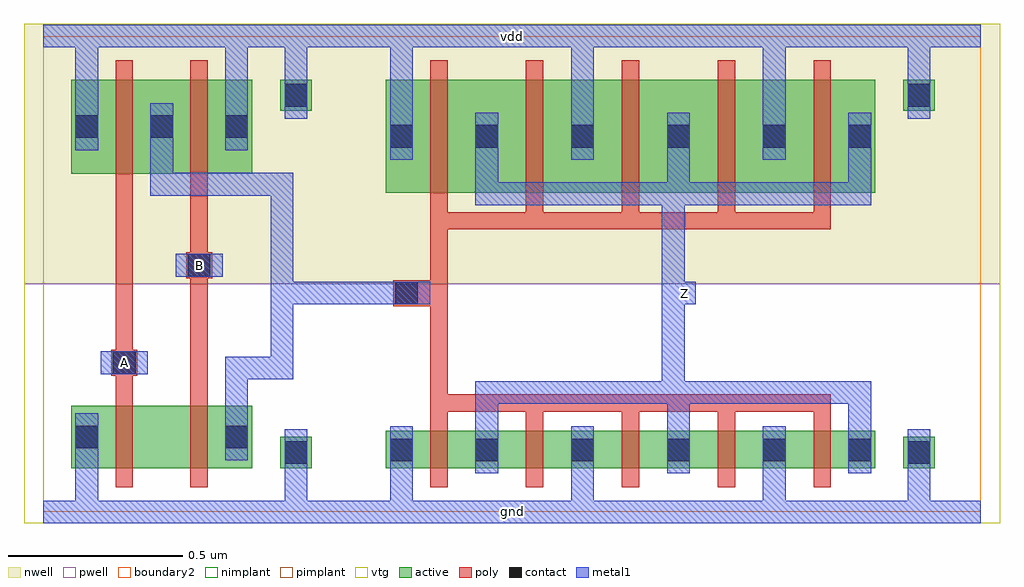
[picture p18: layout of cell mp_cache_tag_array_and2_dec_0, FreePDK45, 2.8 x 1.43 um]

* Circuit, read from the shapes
.subckt mp_cache_tag_array_and2_dec_0 A B Z gnd vdd
M1 mp_cache_tag_array_pnand2_0/mp_cache_tag_array_nmos_m1_w0_180_sm1_dactive_2/D A gnd gnd nfet w=0.18u l=0.05u
M2 mp_cache_tag_array_pinv_0_1/A B mp_cache_tag_array_pnand2_0/mp_cache_tag_array_nmos_m1_w0_180_sm1_dactive_2/D gnd nfet w=0.18u l=0.05u
M3 Z mp_cache_tag_array_pinv_0_1/A gnd gnd nfet w=0.1075u l=0.05u m=5
M4 mp_cache_tag_array_pinv_0_1/A A vdd vdd pfet w=0.27u l=0.05u
M5 vdd B mp_cache_tag_array_pinv_0_1/A vdd pfet w=0.27u l=0.05u
M6 Z mp_cache_tag_array_pinv_0_1/A vdd vdd pfet w=0.325u l=0.05u m=5
.ends

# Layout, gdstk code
import gdstk
lib = gdstk.Library(unit=1e-6, precision=5e-10)
def R(c, l, rs):  # rectangles x0, y0, x1, y1
    for r in rs: c.add(gdstk.rectangle(r[:2], r[2:], *l))
def A(c, l, x, y, w, h, nx, ny, dx, dy):  # array of equal rectangles
    R(c, l, [(x+i*dx, y+j*dy, x+i*dx+w, y+j*dy+h) for i in range(nx) for j in range(ny)])
active = (1, 0)
pwell = (2, 0)
nwell = (3, 0)
nimplant = (4, 0)
pimplant = (5, 0)
vtg = (6, 0)
poly = (9, 0)
contact = (10, 0)
metal1 = (11, 0)
boundary2 = (239, 0)

mp_cache_tag_array_conta = lib.new_cell('mp_cache_tag_array_contact_11')
R(mp_cache_tag_array_conta, active, [(0,0.0225,0.09,0.1125)])
R(mp_cache_tag_array_conta, nwell, [(-0.055,-0.0325,0.145,0.1675)])
R(mp_cache_tag_array_conta, pimplant, [(0,0.0225,0.09,0.1125)])
R(mp_cache_tag_array_conta, contact, [(0.0125,0.035,0.0775,0.1)])
R(mp_cache_tag_array_conta, metal1, [(0.0125,0,0.0775,0.135)])
R(mp_cache_tag_array_conta, boundary2, [(-0.055,-0.0325,0.145,0.1675)])

mp_cache_tag_array_pmos_ = lib.new_cell('mp_cache_tag_array_pmos_m1_w0_270_sm1_dm1')
R(mp_cache_tag_array_pmos_, active, [(0,0,0.305,0.27)])
R(mp_cache_tag_array_pmos_, nwell, [(-0.08,-0.08,0.385,0.35)])
R(mp_cache_tag_array_pmos_, pimplant, [(0,0,0.305,0.27)])
R(mp_cache_tag_array_pmos_, vtg, [(-0.08,-0.08,0.385,0.35)])
R(mp_cache_tag_array_pmos_, poly, [(0.1275,-0.055,0.1775,0.325), (0.1275,-0.055,0.1775,0.325)])
R(mp_cache_tag_array_pmos_, metal1, [(0.0125,0.0675,0.0775,0.2025), (0.2275,0.0675,0.2925,0.2025)])
R(mp_cache_tag_array_pmos_, boundary2, [(-0.08,-0.08,0.385,0.35)])
mp_cache_tag_array_pmos_.add(gdstk.Reference(mp_cache_tag_array_conta, (0,0.0675)))
mp_cache_tag_array_pmos_.add(gdstk.Reference(mp_cache_tag_array_conta, (0.215,0.0675)))
mp_cache_tag_array_pmos_.add(gdstk.Label('G', (0.1525,0.135), layer=9, texttype=0))
mp_cache_tag_array_pmos_.add(gdstk.Label('S', (0.045,0.135), layer=11, texttype=0))
mp_cache_tag_array_pmos_.add(gdstk.Label('D', (0.26,0.135), layer=11, texttype=0))

c_mp_cache_tag_array_conta = lib.new_cell('mp_cache_tag_array_contact_10')
R(c_mp_cache_tag_array_conta, active, [(0,0.0225,0.09,0.1125)])
R(c_mp_cache_tag_array_conta, pwell, [(-0.055,-0.0325,0.145,0.1675)])
R(c_mp_cache_tag_array_conta, nimplant, [(0,0.0225,0.09,0.1125)])
R(c_mp_cache_tag_array_conta, contact, [(0.0125,0.035,0.0775,0.1)])
R(c_mp_cache_tag_array_conta, metal1, [(0.0125,0,0.0775,0.135)])
R(c_mp_cache_tag_array_conta, boundary2, [(-0.055,-0.0325,0.145,0.1675)])

mp_cache_tag_array_nmos_ = lib.new_cell('mp_cache_tag_array_nmos_m1_w0_180_sm1_dactive')
R(mp_cache_tag_array_nmos_, active, [(0,0,0.305,0.18), (0.215,0.045,0.305,0.135)])
R(mp_cache_tag_array_nmos_, pwell, [(-0.08,-0.08,0.385,0.26)])
R(mp_cache_tag_array_nmos_, nimplant, [(0,0,0.305,0.18)])
R(mp_cache_tag_array_nmos_, vtg, [(-0.08,-0.08,0.385,0.26)])
R(mp_cache_tag_array_nmos_, poly, [(0.1275,-0.055,0.1775,0.235), (0.1275,-0.055,0.1775,0.235)])
R(mp_cache_tag_array_nmos_, metal1, [(0.0125,0.0225,0.0775,0.1575)])
R(mp_cache_tag_array_nmos_, boundary2, [(-0.08,-0.08,0.385,0.26)])
mp_cache_tag_array_nmos_.add(gdstk.Reference(c_mp_cache_tag_array_conta, (0,0.0225)))
mp_cache_tag_array_nmos_.add(gdstk.Label('G', (0.1525,0.09), layer=9, texttype=0))
mp_cache_tag_array_nmos_.add(gdstk.Label('S', (0.045,0.09), layer=11, texttype=0))
mp_cache_tag_array_nmos_.add(gdstk.Label('D', (0.26,0.09), layer=1, texttype=0))

c_mp_cache_tag_array_nmos_ = lib.new_cell('mp_cache_tag_array_nmos_m1_w0_180_sactive_dm1')
R(c_mp_cache_tag_array_nmos_, active, [(0,0,0.305,0.18), (0,0.045,0.09,0.135)])
R(c_mp_cache_tag_array_nmos_, pwell, [(-0.08,-0.08,0.385,0.26)])
R(c_mp_cache_tag_array_nmos_, nimplant, [(0,0,0.305,0.18)])
R(c_mp_cache_tag_array_nmos_, vtg, [(-0.08,-0.08,0.385,0.26)])
R(c_mp_cache_tag_array_nmos_, poly, [(0.1275,-0.055,0.1775,0.235), (0.1275,-0.055,0.1775,0.235)])
R(c_mp_cache_tag_array_nmos_, metal1, [(0.2275,0.0225,0.2925,0.1575)])
R(c_mp_cache_tag_array_nmos_, boundary2, [(-0.08,-0.08,0.385,0.26)])
c_mp_cache_tag_array_nmos_.add(gdstk.Reference(c_mp_cache_tag_array_conta, (0.215,0.0225)))
c_mp_cache_tag_array_nmos_.add(gdstk.Label('G', (0.1525,0.09), layer=9, texttype=0))
c_mp_cache_tag_array_nmos_.add(gdstk.Label('S', (0.045,0.09), layer=1, texttype=0))
c_mp_cache_tag_array_nmos_.add(gdstk.Label('D', (0.26,0.09), layer=11, texttype=0))

c_mp_cache_tag_array_conta_ = lib.new_cell('mp_cache_tag_array_contact_12')
R(c_mp_cache_tag_array_conta_, active, [(0,0.0225,0.09,0.1125)])
R(c_mp_cache_tag_array_conta_, nwell, [(-0.055,-0.0325,0.145,0.1675)])
R(c_mp_cache_tag_array_conta_, nimplant, [(0,0.0225,0.09,0.1125)])
R(c_mp_cache_tag_array_conta_, contact, [(0.0125,0.035,0.0775,0.1)])
R(c_mp_cache_tag_array_conta_, metal1, [(0.0125,0,0.0775,0.135)])
R(c_mp_cache_tag_array_conta_, boundary2, [(-0.055,-0.0325,0.145,0.1675)])

c_mp_cache_tag_array_conta__ = lib.new_cell('mp_cache_tag_array_contact_13')
R(c_mp_cache_tag_array_conta__, active, [(0,0.0225,0.09,0.1125)])
R(c_mp_cache_tag_array_conta__, pwell, [(-0.055,-0.0325,0.145,0.1675)])
R(c_mp_cache_tag_array_conta__, pimplant, [(0,0.0225,0.09,0.1125)])
R(c_mp_cache_tag_array_conta__, contact, [(0.0125,0.035,0.0775,0.1)])
R(c_mp_cache_tag_array_conta__, metal1, [(0.0125,0,0.0775,0.135)])
R(c_mp_cache_tag_array_conta__, boundary2, [(-0.055,-0.0325,0.145,0.1675)])

c_mp_cache_tag_array_conta___ = lib.new_cell('mp_cache_tag_array_contact_14')
R(c_mp_cache_tag_array_conta___, poly, [(0.03,0,0.105,0.075)])
R(c_mp_cache_tag_array_conta___, contact, [(0.035,0.005,0.1,0.07)])
R(c_mp_cache_tag_array_conta___, metal1, [(0,0.005,0.135,0.07)])
R(c_mp_cache_tag_array_conta___, boundary2, [(0,0,0.135,0.075)])

mp_cache_tag_array_pnand = lib.new_cell('mp_cache_tag_array_pnand2')
R(mp_cache_tag_array_pnand, pwell, [(-0.055,-0.0325,0.9575,0.655)])
R(mp_cache_tag_array_pnand, nwell, [(-0.055,0.655,0.9575,1.4)])
R(mp_cache_tag_array_pnand, vtg, [(-0.055,-0.0325,0.9575,0.655), (-0.055,0.655,0.9575,1.4)])
R(mp_cache_tag_array_pnand, poly, [(0.2075,0.36,0.2575,0.915), (0.4225,0.36,0.4725,0.915), (0.2075,0.39,0.2325,0.465), (0.4225,0.67,0.4475,0.745)])
R(mp_cache_tag_array_pnand, metal1, [(0,-0.0325,0.9025,0.0325), (0.0925,-0.0325,0.1575,0.1475), (0.6925,0,0.7575,0.17), (0.5225,0.2825,0.5875,0.4125), (0.5225,0.38,0.5875,0.445), (0.555,0.38,0.685,0.445), (0.6525,0.38,0.7175,0.445), (0.165,0.395,0.3,0.46), (0.6525,0.4125,0.7175,0.94), (0.38,0.675,0.515,0.74), (0.3075,0.9075,0.3725,0.9725), (0.34,0.9075,0.685,0.9725), (0.6525,0.9075,0.7175,0.9725), (0.3075,0.94,0.3725,1.0375), (0.0925,1.0375,0.1575,1.3975), (0.5225,1.0375,0.5875,1.3975), (0.6925,1.195,0.7575,1.365), (0,1.3325,0.9025,1.3975)])
R(mp_cache_tag_array_pnand, boundary2, [(0,0,0.9025,1.365), (0,0,0.9025,1.365)])
mp_cache_tag_array_pnand.add(gdstk.Reference(mp_cache_tag_array_pmos_, (0.08,0.97)))
mp_cache_tag_array_pnand.add(gdstk.Reference(mp_cache_tag_array_pmos_, (0.295,0.97)))
mp_cache_tag_array_pnand.add(gdstk.Reference(mp_cache_tag_array_nmos_, (0.08,0.125)))
mp_cache_tag_array_pnand.add(gdstk.Reference(c_mp_cache_tag_array_nmos_, (0.295,0.125)))
mp_cache_tag_array_pnand.add(gdstk.Reference(c_mp_cache_tag_array_conta_, (0.68,1.1275)))
mp_cache_tag_array_pnand.add(gdstk.Reference(c_mp_cache_tag_array_conta__, (0.68,0.1025)))
mp_cache_tag_array_pnand.add(gdstk.Reference(c_mp_cache_tag_array_conta___, (0.165,0.39)))
mp_cache_tag_array_pnand.add(gdstk.Reference(c_mp_cache_tag_array_conta___, (0.38,0.67)))
mp_cache_tag_array_pnand.add(gdstk.Label('Z', (0.685,0.94), layer=11, texttype=0))
mp_cache_tag_array_pnand.add(gdstk.Label('gnd', (0.451,0), layer=11, texttype=0))
mp_cache_tag_array_pnand.add(gdstk.Label('vdd', (0.451,1.365), layer=11, texttype=0))
mp_cache_tag_array_pnand.add(gdstk.Label('A', (0.2325,0.4275), layer=11, texttype=0))
mp_cache_tag_array_pnand.add(gdstk.Label('B', (0.4475,0.7075), layer=11, texttype=0))

c_mp_cache_tag_array_pmos_ = lib.new_cell('mp_cache_tag_array_pmos_m5_w0_325_sm1_dm1_da_p')
R(c_mp_cache_tag_array_pmos_, active, [(0,0,1.405,0.325)])
R(c_mp_cache_tag_array_pmos_, nwell, [(-0.08,-0.08,1.485,0.405)])
R(c_mp_cache_tag_array_pmos_, pimplant, [(0,0,1.405,0.325)])
R(c_mp_cache_tag_array_pmos_, vtg, [(-0.08,-0.08,1.485,0.405)])
A(c_mp_cache_tag_array_pmos_, poly, 0.1275, -0.055, 0.05, 0.435, 5, 1, 0.275, 0)
R(c_mp_cache_tag_array_pmos_, poly, [(0.1275,-0.105,1.2775,-0.055)])
R(c_mp_cache_tag_array_pmos_, metal1, [(0.2575,-0.035,1.3925,0.03), (0.2575,-0.0025,0.3225,0.1625), (0.8075,-0.0025,0.8725,0.1625), (1.3275,-0.0025,1.3925,0.1625), (0.0125,0.095,0.0775,0.23), (0.5325,0.095,0.5975,0.23), (1.0825,0.095,1.1475,0.23)])
R(c_mp_cache_tag_array_pmos_, boundary2, [(-0.08,-0.105,1.485,0.405)])
c_mp_cache_tag_array_pmos_.add(gdstk.Reference(mp_cache_tag_array_conta, (0,0.095)))
c_mp_cache_tag_array_pmos_.add(gdstk.Reference(mp_cache_tag_array_conta, (0.245,0.095)))
c_mp_cache_tag_array_pmos_.add(gdstk.Reference(mp_cache_tag_array_conta, (0.52,0.095)))
c_mp_cache_tag_array_pmos_.add(gdstk.Reference(mp_cache_tag_array_conta, (0.795,0.095)))
c_mp_cache_tag_array_pmos_.add(gdstk.Reference(mp_cache_tag_array_conta, (1.07,0.095)))
c_mp_cache_tag_array_pmos_.add(gdstk.Reference(mp_cache_tag_array_conta, (1.315,0.095)))
c_mp_cache_tag_array_pmos_.add(gdstk.Label('G', (0.7025,-0.08), layer=9, texttype=0))
c_mp_cache_tag_array_pmos_.add(gdstk.Label('S', (0.565,0.1625), layer=11, texttype=0))
c_mp_cache_tag_array_pmos_.add(gdstk.Label('S', (0.045,0.1625), layer=11, texttype=0))
c_mp_cache_tag_array_pmos_.add(gdstk.Label('S', (1.115,0.1625), layer=11, texttype=0))
c_mp_cache_tag_array_pmos_.add(gdstk.Label('D', (0.825,-0.0025), layer=11, texttype=0))

c_mp_cache_tag_array_nmos__ = lib.new_cell('mp_cache_tag_array_nmos_m5_w0_107_sm1_dm1_da_p')
R(c_mp_cache_tag_array_nmos__, active, [(0,0,1.405,0.1075)])
R(c_mp_cache_tag_array_nmos__, pwell, [(-0.08,-0.08,1.485,0.1875)])
R(c_mp_cache_tag_array_nmos__, nimplant, [(0,0,1.405,0.1075)])
R(c_mp_cache_tag_array_nmos__, vtg, [(-0.08,-0.08,1.485,0.1875)])
A(c_mp_cache_tag_array_nmos__, poly, 0.1275, -0.055, 0.05, 0.2175, 5, 1, 0.275, 0)
R(c_mp_cache_tag_array_nmos__, poly, [(0.1275,0.1625,1.2775,0.2125)])
R(c_mp_cache_tag_array_nmos__, metal1, [(0.0125,-0.015,0.0775,0.12), (0.5325,-0.015,0.5975,0.12), (1.0825,-0.015,1.1475,0.12), (0.2575,0.055,0.3225,0.22), (0.8075,0.055,0.8725,0.22), (1.3275,0.055,1.3925,0.22), (0.2575,0.185,1.3925,0.25)])
R(c_mp_cache_tag_array_nmos__, boundary2, [(-0.08,-0.08,1.485,0.25)])
c_mp_cache_tag_array_nmos__.add(gdstk.Reference(c_mp_cache_tag_array_conta, (0,-0.015)))
c_mp_cache_tag_array_nmos__.add(gdstk.Reference(c_mp_cache_tag_array_conta, (0.245,-0.015)))
c_mp_cache_tag_array_nmos__.add(gdstk.Reference(c_mp_cache_tag_array_conta, (0.52,-0.015)))
c_mp_cache_tag_array_nmos__.add(gdstk.Reference(c_mp_cache_tag_array_conta, (0.795,-0.015)))
c_mp_cache_tag_array_nmos__.add(gdstk.Reference(c_mp_cache_tag_array_conta, (1.07,-0.015)))
c_mp_cache_tag_array_nmos__.add(gdstk.Reference(c_mp_cache_tag_array_conta, (1.315,-0.015)))
c_mp_cache_tag_array_nmos__.add(gdstk.Label('G', (0.7025,0.1875), layer=9, texttype=0))
c_mp_cache_tag_array_nmos__.add(gdstk.Label('S', (0.565,0.0525), layer=11, texttype=0))
c_mp_cache_tag_array_nmos__.add(gdstk.Label('S', (1.115,0.0525), layer=11, texttype=0))
c_mp_cache_tag_array_nmos__.add(gdstk.Label('S', (0.045,0.0525), layer=11, texttype=0))
c_mp_cache_tag_array_nmos__.add(gdstk.Label('D', (0.825,0.2175), layer=11, texttype=0))

mp_cache_tag_array_pinv_ = lib.new_cell('mp_cache_tag_array_pinv_0')
R(mp_cache_tag_array_pinv_, pwell, [(-0.055,-0.0325,1.8425,0.655)])
R(mp_cache_tag_array_pinv_, nwell, [(-0.055,0.655,1.8425,1.4)])
R(mp_cache_tag_array_pinv_, vtg, [(-0.055,-0.0325,1.8425,0.655), (-0.055,0.655,1.8425,1.4)])
R(mp_cache_tag_array_pinv_, poly, [(0.2075,0.3375,0.2575,0.81), (0.14,0.59,0.2075,0.665)])
R(mp_cache_tag_array_pinv_, metal1, [(0,-0.0325,1.7875,0.0325), (0.0925,-0.0325,0.1575,0.11), (0.6125,-0.0325,0.6775,0.11), (1.1625,-0.0325,1.2275,0.11), (1.5775,0,1.6425,0.17), (0.8725,0.31,0.9375,0.945), (0.0725,0.595,0.2075,0.66), (0.905,0.595,0.97,0.66), (0.0925,1.01,0.1575,1.3975), (0.6125,1.01,0.6775,1.3975), (1.1625,1.01,1.2275,1.3975), (1.5775,1.195,1.6425,1.365), (0,1.3325,1.7875,1.3975)])
R(mp_cache_tag_array_pinv_, boundary2, [(0,0,1.7875,1.365), (0,0,1.7875,1.365)])
mp_cache_tag_array_pinv_.add(gdstk.Reference(c_mp_cache_tag_array_pmos_, (0.08,0.915)))
mp_cache_tag_array_pinv_.add(gdstk.Reference(c_mp_cache_tag_array_nmos__, (0.08,0.125)))
mp_cache_tag_array_pinv_.add(gdstk.Reference(c_mp_cache_tag_array_conta_, (1.565,1.1275)))
mp_cache_tag_array_pinv_.add(gdstk.Reference(c_mp_cache_tag_array_conta__, (1.565,0.1025)))
mp_cache_tag_array_pinv_.add(gdstk.Reference(c_mp_cache_tag_array_conta___, (0.0725,0.59)))
mp_cache_tag_array_pinv_.add(gdstk.Label('A', (0.14,0.6275), layer=11, texttype=0))
mp_cache_tag_array_pinv_.add(gdstk.Label('Z', (0.9375,0.6275), layer=11, texttype=0))
mp_cache_tag_array_pinv_.add(gdstk.Label('gnd', (0.894,0), layer=11, texttype=0))
mp_cache_tag_array_pinv_.add(gdstk.Label('vdd', (0.894,1.365), layer=11, texttype=0))

mp_cache_tag_array_and2_ = lib.new_cell('mp_cache_tag_array_and2_dec_0')
R(mp_cache_tag_array_and2_, metal1, [(0,-0.0325,2.69,0.0325), (0.165,0.395,0.3,0.46), (0.6525,0.595,0.7175,0.66), (0.685,0.595,1.0425,0.66), (1.8075,0.595,1.8725,0.66), (0.6525,0.6275,0.7175,0.94), (0.38,0.675,0.515,0.74), (0,1.3325,2.69,1.3975)])
R(mp_cache_tag_array_and2_, boundary2, [(0,0,2.69,1.365)])
mp_cache_tag_array_and2_.add(gdstk.Reference(mp_cache_tag_array_pnand, (0,0)))
mp_cache_tag_array_and2_.add(gdstk.Reference(mp_cache_tag_array_pinv_, (0.9025,0)))
mp_cache_tag_array_and2_.add(gdstk.Label('Z', (1.84,0.6275), layer=11, texttype=0))
mp_cache_tag_array_and2_.add(gdstk.Label('A', (0.2325,0.4275), layer=11, texttype=0))
mp_cache_tag_array_and2_.add(gdstk.Label('B', (0.4475,0.7075), layer=11, texttype=0))
mp_cache_tag_array_and2_.add(gdstk.Label('gnd', (1.345,0), layer=11, texttype=0))
mp_cache_tag_array_and2_.add(gdstk.Label('vdd', (1.345,1.365), layer=11, texttype=0))

lib.write_gds('mp_cache_tag_array_and2_dec_0.gds')
